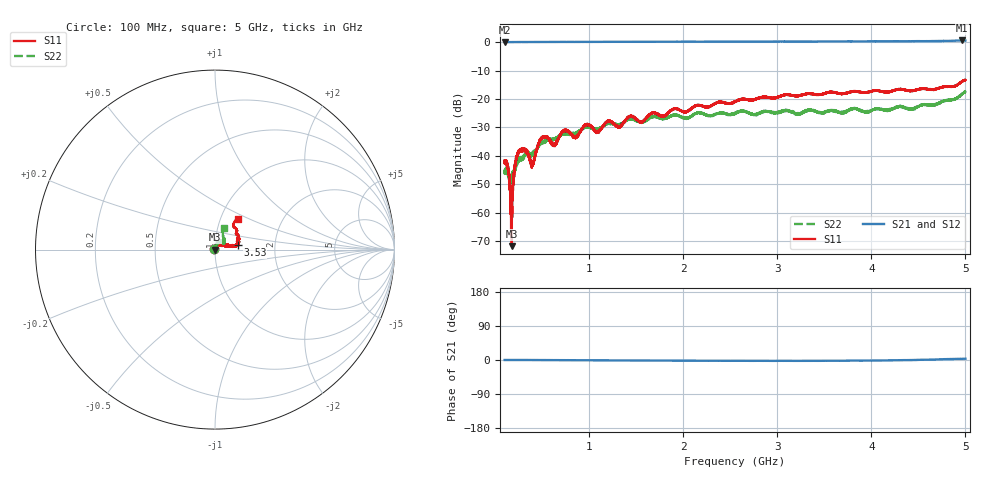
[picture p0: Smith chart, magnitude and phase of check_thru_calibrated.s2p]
!Keysight Technologies N9917A: A.13.25
!Date: Thursday, 15 October 2026 15:34:50
!Timezone: (UTC-08:00) Pacific Time (US & Canada)
!Model: N9917A
!Serial: MY56072049
!GPS Latitude:
!GPS Longitude:
!GPS TimeStamp: 0001-01-01 00:00:00Z
!GPS Seconds Since Last Read: 0
!CHECKSUM:0513324772
!Correction: S11(ON U)S21(ON U)S12(ON U)S22(ON U)
!S2P File: Measurements:S11,S21,S12,S22:
# Hz S DB R 50
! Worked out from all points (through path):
!   10001 points, 100 MHz to 5 GHz, reference 50 ohm
!   highest |S21| = 0.57 dB at 4.959 GHz (marker M1); lowest = 0.0 dB at 100 MHz (marker M2)
!   lowest |S11| = -71.7 dB at 176.4 MHz (marker M3), VSWR 1.00, Z = 50 - j0.00054 ohm
!   |S11| at or under -10 dB: start of sweep to end of sweep
!   |S22| runs from -49.9 to -17.4 dB; largest |S21 - S12| = 0.0048
!   S11 on the Smith chart (normalised r, x): 100 MHz: 0.99, +0.01; 3.53 GHz: 1.29, +0.07; 5 GHz: 1.21, +0.44
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1e8  -41.57 145.9  -0.03 0.1  -0.02 0.1  -45.39 142.6
1.2891e8  -43.43 166.3  -0.01 0.0  -0.02 0.0  -46.21 149.5
1.5782e8  -50.49 -175.8  -0.01 0.0  -0.01 0.0  -47.43 116.7
1.7644e8  -71.73 -1.2  -0.01 0.0  -0.01 0.0  -47.22 91.0
2.2103e8  -40.54 26.9  0.01 0.0  0.00 0.0  -43.53 63.9
2.6268e8  -38.50 58.8  0.01 -0.0  0.02 -0.0  -40.36 71.7
3.254e8  -38.14 100.7  0.02 0.0  0.01 -0.0  -38.77 108.2
3.9351e8  -42.88 88.2  0.02 -0.1  0.02 -0.1  -39.47 91.6
5.0131e8  -33.59 63.0  0.03 -0.2  0.04 -0.2  -35.40 74.0
6.3067e8  -35.98 71.2  0.04 -0.3  0.05 -0.4  -34.16 85.0
7.2867e8  -31.08 54.7  0.06 -0.5  0.06 -0.5  -31.98 72.2
8.5166e8  -33.04 68.6  0.06 -0.6  0.05 -0.6  -32.16 84.8
9.1683e8  -30.90 50.3  0.07 -0.6  0.06 -0.6  -30.92 68.8
1.08931e9  -31.60 55.3  0.08 -0.9  0.07 -0.9  -30.44 77.6
1.20054e9  -28.02 44.7  0.09 -0.9  0.09 -1.0  -28.49 64.4
1.73366e9  -25.36 34.3  0.11 -1.5  0.11 -1.5  -26.54 61.8
2.55e9  -20.91 11.8  0.17 -2.1  0.18 -2.0  -24.91 52.5
3.36683e9  -18.15 12.7  0.19 -2.2  0.19 -2.1  -23.96 40.6
3.53e9  -17.77 11.3  0.22 -2.1  0.22 -2.0  -24.29 41.4
4.18366e9  -17.59 20.6  0.28 -1.0  0.29 -1.1  -23.98 39.1
4.95933e9  -13.93 53.6  0.57 3.0  0.55 3.1  -18.48 66.3
5e9  -13.29 53.1  0.52 3.4  0.52 3.4  -17.53 68.1
